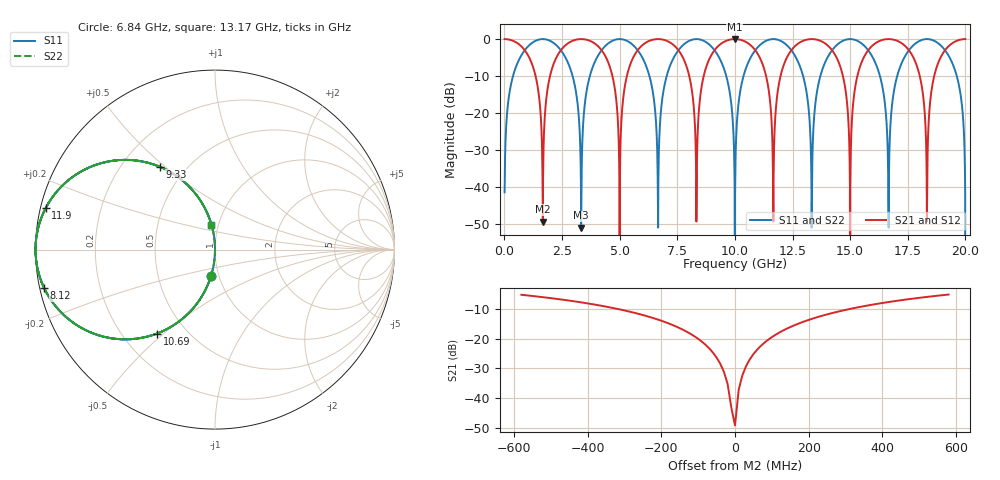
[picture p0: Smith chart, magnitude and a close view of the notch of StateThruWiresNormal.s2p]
! File created by SignalIntegrity v1.4.3: Signal and Power Integrity Tools
! https://github.com/Nubis-Communications/SignalIntegrity
# MHz S MA R 50.0
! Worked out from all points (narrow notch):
!   2000 points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, 10 MHz to 20 GHz, reference 50 ohm
!   highest |S21| = 0.00 dB at 10 GHz (marker M1); lowest = -49.2 dB at 1.67 GHz (marker M2)
!   notch at M2: 46.6 dB deep, 98 MHz wide at half that depth
!   lowest |S11| = -50.9 dB at 3.33 GHz (marker M3), VSWR 1.01, Z = 50 + j0.286 ohm
!   |S11| at or under -10 dB: 2.96 GHz to 3.706 GHz (745.8 MHz wide, 22.4 % of centre); 6.294 GHz to 7.04 GHz (745.8 MHz wide, 11.2 % of centre); 9.627 GHz to 10.37 GHz (745.8 MHz wide, 7.46 % of centre)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
!   |S22| runs from - to 0.0 dB; largest |S21 - S12| = 0
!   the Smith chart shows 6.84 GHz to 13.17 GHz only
!   S11 on the Smith chart (normalised r, x): 6.84 GHz: 0.92, -0.27; 8.12 GHz: 0.01, -0.11; 9.33 GHz: 0.36, +0.48; 10.69 GHz: 0.34, -0.47; 11.9 GHz: 0.01, +0.12; 13.17 GHz: 0.93, +0.26
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10  0.008568 -90.5  1 -0.5  1 -0.5  0.008568 -90.5
1670  1 179.8  0.003456 89.8  0.003456 89.8  1 179.8
3330  0.002856 90.2  1 0.2  1 0.2  0.002856 90.2
3350  0.01428 -90.8  0.9999 -0.8  0.9999 -0.8  0.01428 -90.8
5000  1 180.0  0 -90.0  0 -90.0  1 180.0
6680  0.01142 -90.7  0.9999 -0.7  0.9999 -0.7  0.01142 -90.7
6840  0.1482 -98.5  0.989 -8.5  0.989 -8.5  0.1482 -98.5
8120  0.9758 -167.4  0.2188 -77.4  0.2188 -77.4  0.9758 -167.4
9330  0.5537 123.6  0.8327 33.6  0.8327 33.6  0.5537 123.6
10000  0 99.4  1 0.0  1 0.0  0 99.4
10010  0.008568 -90.5  1 -0.5  1 -0.5  0.008568 -90.5
10690  0.5688 -124.7  0.8225 -34.7  0.8225 -34.7  0.5688 -124.7
11660  1 -179.6  0.006911 -89.6  0.006911 -89.6  1 -179.6
11900  0.9711 166.2  0.2388 76.2  0.2388 76.2  0.9711 166.2
13170  0.1397 98.0  0.9902 8.0  0.9902 8.0  0.1397 98.0
13340  0.005712 -90.3  1 -0.3  1 -0.3  0.005712 -90.3
15000  1 -180.0  0 -90.0  0 -90.0  1 -180.0
16670  0.002856 -90.2  1 -0.2  1 -0.2  0.002856 -90.2
18330  1 -179.8  0.003456 -89.8  0.003456 -89.8  1 -179.8
19080  0.731 137.0  0.6824 47.0  0.6824 47.0  0.731 137.0
19830  0.1454 98.4  0.9894 8.4  0.9894 8.4  0.1454 98.4
20000  0 94.8  1 0.0  1 0.0  0 94.8
